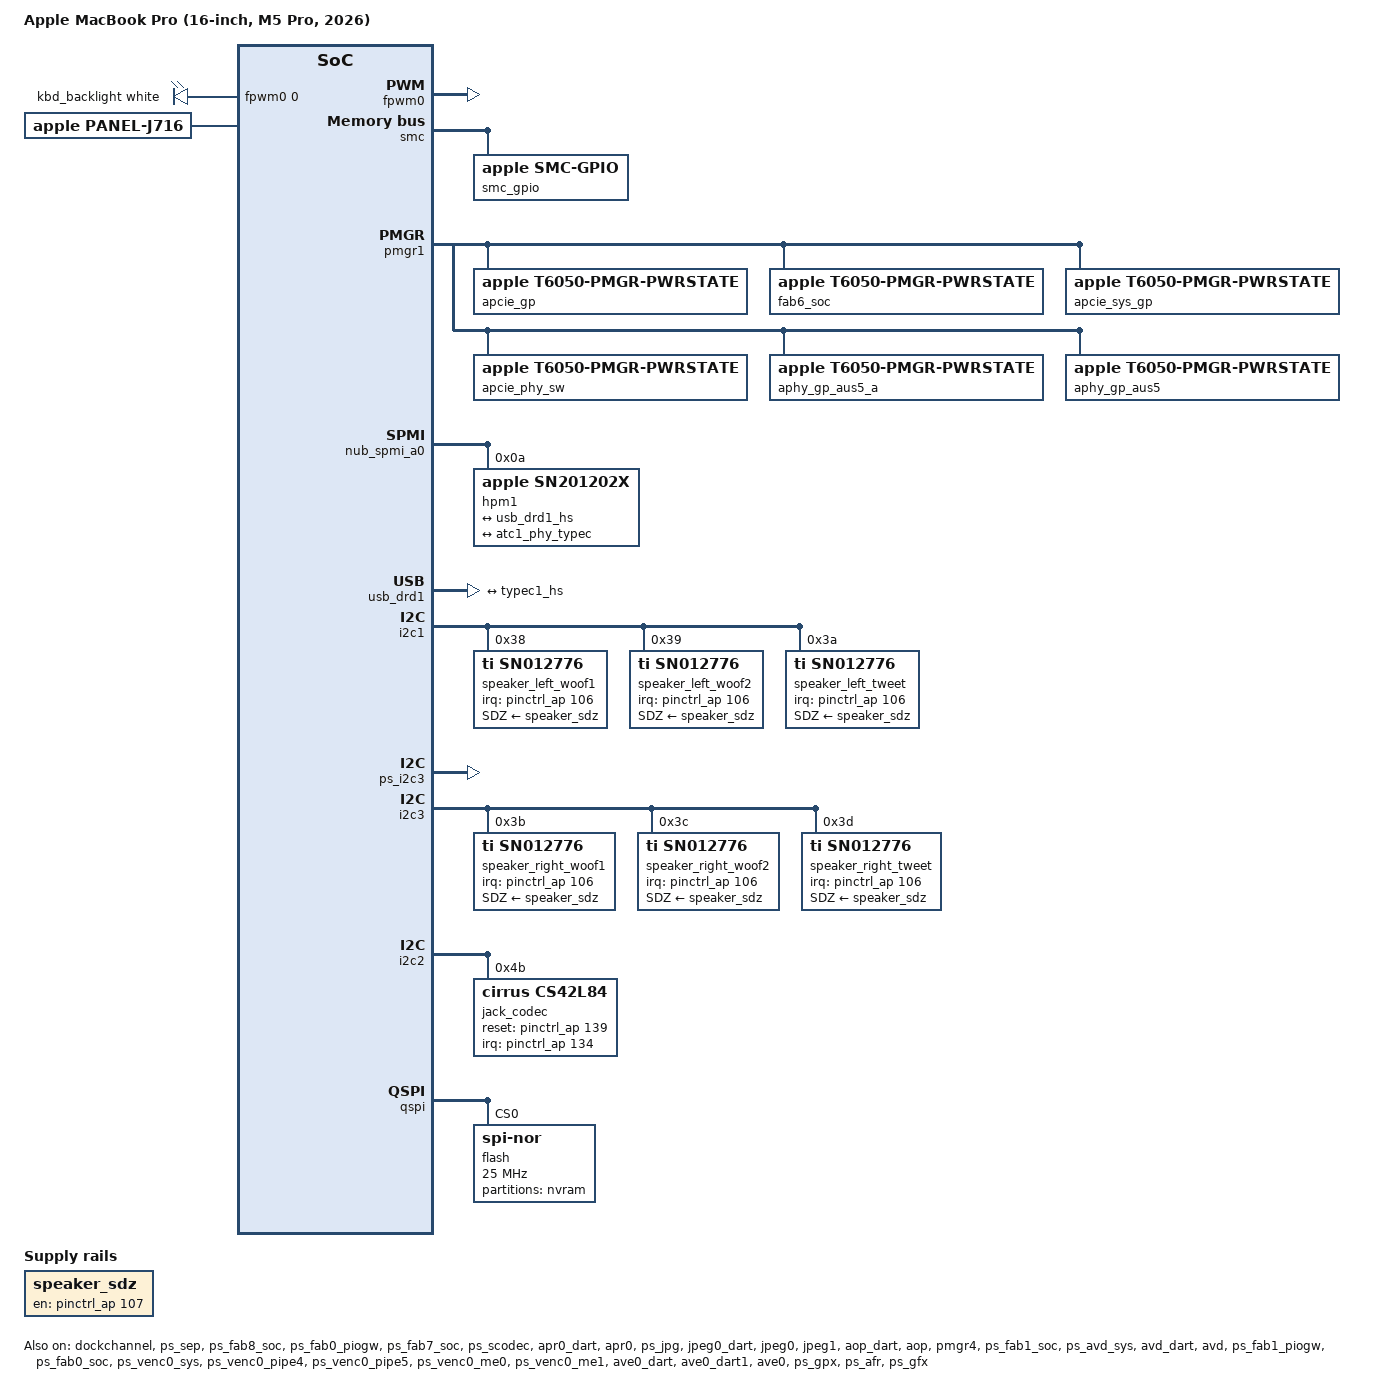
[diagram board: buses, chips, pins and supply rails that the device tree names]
// SPDX-License-Identifier: GPL-2.0+ OR MIT
/*
 * MacBook Pro (16-inch, M5 Pro, 2026)
 *
 * target-type: J716s (Mac17,8)
 *
 * The M5 Pro is one T6050 die, die 0 (t6050-max.dtsi), as on the J716c. The
 * ADT lists all 18 CPUs in the order t6050-max.dtsi uses; the boot loader
 * removes any core it did not start. This file enables and configures what
 * has been brought up on this board; the SoC's other ports and buses stay
 * disabled until each is described for it.
 *
 * Copyright The Asahi Linux Contributors
 */

/dts-v1/;

#define T6050_J716S
#include <dt-bindings/leds/common.h>
#include "t6050-max.dtsi"

/ {
	compatible = "apple,j716s", "apple,t6050", "apple,arm-platform";
	model = "Apple MacBook Pro (16-inch, M5 Pro, 2026)";
	chassis-type = "laptop";

	aliases {
		serial0 = &dockchannel;
		/* The loader fills the N1's factory addresses through these */
		wifi0 = &n1_alpha;
		bluetooth0 = &n1_beta;
		/* The loader fills the keyboard layout from the ADT's keyboard node */
		keyboard = &keyboard;
		/* the boot loader reserves the SEP firmware and adds its manifests through this alias */
		sep = &sep;
		/* The loader finds the boot NOR's NVRAM partition through this alias */
		nvram = &nvram;
	};

	chosen {
		#address-cells = <2>;
		#size-cells = <2>;
		ranges;

		framebuffer0: framebuffer@0 {
			compatible = "apple,simple-framebuffer", "simple-framebuffer";
			reg = <0 0 0 0>; /* To be filled by the loader */
			/* Format properties will be added by the loader */
			/* simpledrm reports an eDP connector for the built-in panel */
			apple,internal-panel;
			status = "disabled";
		};
	};

	/* Keyboard backlight: ADT pwm0/kbd-backlight, channel 0 at 25 kHz */
	led-controller {
		compatible = "pwm-leds";

		led-0 {
			pwms = <&fpwm0 0 40000>;
			label = "kbd_backlight";
			function = LED_FUNCTION_KBD_BACKLIGHT;
			color = <LED_COLOR_ID_WHITE>;
			max-brightness = <255>;
			default-state = "keep";
		};
	};
};

/* The keyboard backlight PWM (ADT pwm0) */
&fpwm0 {
	status = "okay";
};

/*
 * The SoC's inventory (t6050-peripherals.dtsi). Everything it declares is disabled; what
 * follows enables and completes what this board uses, so it comes after the inventory.
 */
#include "t6050-peripherals.dtsi"

/*
 * PCIe port 0: the N1 (Wi-Fi and Bluetooth). Port 1 is the SD reader, not yet
 * described. The registers, interrupt, DART streams and PERST# pin are the
 * J716c's: the J716s ADT has the same port. Port 0 and its DART stay disabled
 * until the boot loader enables them: once it trained the port, or with the
 * port down because the kernel can train it (port00 names the N1's power
 * line, the DART waits for its root complex). The kernel's train uses the
 * shared PHY (ADT reg[3]), its common block (reg[2] + 0x4000) and the windows
 * of the host tunable lists the boot loader copies from the ADT: axi2af
 * (reg[5]), pcieclkgen (reg[6]), phy-window (reg[2]) and phy-ip (reg[4]),
 * the same as the J714c's; the PHY and axi2af windows are cut to what their
 * lists reach.
 */
&pcie0 {
	reg = <0x1c 0xb0000000 0x0 0x10000000>,
	      <0x4 0x14000000 0x0 0x4000>,
	      <0x4 0x10028000 0x0 0x8000>,
	      <0x4 0x17010000 0x0 0x4000>,
	      <0x4 0x10024000 0x0 0x4000>,
	      <0x4 0x17020000 0x0 0x4000>,
	      <0x4 0x17004000 0x0 0x4000>,
	      <0x4 0x16000000 0x0 0x24000>,
	      <0x4 0x15044000 0x0 0x4000>,
	      <0x4 0x17000000 0x0 0x24000>,
	      <0x4 0x17800000 0x0 0x1b4000>;
	reg-names = "config", "rc", "port0", "phy0", "intr2axi0",
		    "phy-shared", "phy-common", "axi2af", "pcieclkgen",
		    "phy-window", "phy-ip";
	interrupts = <AIC_IRQ 0 1523 IRQ_TYPE_LEVEL_HIGH>;
	interrupt-names = "port0";

	/* The N1's three functions are on DART streams 1-3 */
	iommu-map = <0x100 &dart_apcie0 1 3>;
	bus-range = <0 4>;
	/*
	 * dart_apcie0 probes only once this host has the port up: fw_devlink
	 * must not make the host wait for it (strict mode enforces iommu-map)
	 */
	post-init-providers = <&dart_apcie0>;

	port00: pci@0,0 {
		device_type = "pci";
		reg = <0x0 0 0 0 0>;
		bus-range = <1 1>;
		/* The N1's power: ADT pci-bridge0 function-reset, gP13 */
		pwren-gpios = <&smc_gpio 0x13 GPIO_ACTIVE_HIGH>;
		/* PERST#: ADT pci-bridge0 function-perst, GPIO 80 */
		reset-gpios = <&pinctrl_ap 80 GPIO_ACTIVE_LOW>;
		apple,link-trained-by-bootloader;
		status = "disabled";

		#address-cells = <3>;
		#size-cells = <2>;
		ranges;

		interrupt-controller;
		#interrupt-cells = <1>;
		interrupt-map-mask = <0 0 0 7>;
		interrupt-map = <0 0 0 1 &port00 0 0 0 0>,
				<0 0 0 2 &port00 0 0 0 1>,
				<0 0 0 3 &port00 0 0 0 2>,
				<0 0 0 4 &port00 0 0 0 3>;

		/* platform ID (board 0x0c << 16) | chip 0x6050 */
		n1_control: control@0,0 {
			compatible = "pci106b,1900";
			reg = <0x10000 0x0 0x0 0x0 0x0>;
			firmware-name = "apple/centauri/j716s-ftab.bin";
			apple,centauri-platform-id = <0x000c6050>;
			apple,centauri-protocol = <27>;
		};

		n1_alpha: wifi@0,1 {
			compatible = "pci106b,1902";
			reg = <0x10100 0x0 0x0 0x0 0x0>;
			local-mac-address = [00 00 00 00 00 00];
		};

		n1_beta: bluetooth@0,2 {
			compatible = "pci106b,1903";
			reg = <0x10200 0x0 0x0 0x0 0x0>;
			local-bd-address = [00 00 00 00 00 00];
		};
	};
};

/* It answers only once port 0's root complex is up: pcie-apple then enables it */
&dart_apcie0 {
	apple,manual-availability;
};

/*
 * Nothing here drives the SMC pcIO outputs (apple,smc-pcio-gpio), and the AFE
 * reset above uses gp1c, so the node goes. This board's templates,
 * pKW8('pcIO', lo, hi) as (hi << 32) | lo, are the J716c's:
 *   0 dp2hdmi_pwr_en (0x0, 0x1a0000)
 *   1 hdmi_pwr_en    (0x800000, 0xf0000)
 *   2 afe-reset      (0x10000, 0x11c0000)
 */
/delete-node/ &smc_pcio;

/*
 * The SMC's first GPIO bank, the gP keys: the N1's power line is gP13.
 * gpio-macsmc drives it with the line's ADT template, pKW4("gP13",
 * 0x00800000): 0x00800000 | level, as m1n1 does.
 */
&smc {
	smc_gpio: gpio {
		compatible = "apple,smc-gpio";
		#gpio-cells = <2>;
		gpio-controller;
	};
};

/*
 * The power of the N1's port. iBoot leaves APCIE_SYS_GP, APCIE_PHY_SW and
 * APHY_GP_AUS5 in automatic power management with the block gated (boot
 * state 0x1000030f, 0x1400024f, 0x1000030f); the train needs them on and
 * staying on, as m1n1 raises them (target active, auto-PM off). Always on:
 * the port's link is kept through suspend-to-idle, and the host has no
 * power domain of its own. Parents as the ADT names them, the
 * register-less APCIE_SYS_GE left out. ADT pmgr devices APCIE_GP +0x118,
 * FAB6_SOC +0x138, APCIE_SYS_GP +0x148, APCIE_PHY_SW +0x1b0,
 * APHY_GP_AUS5_A +0x258, APHY_GP_AUS5 +0x280 (group 1).
 */
&pmgr1 {
	ps_apcie_gp: power-controller@118 {
		compatible = "apple,t6050-pmgr-pwrstate", "apple,t8103-pmgr-pwrstate";
		reg = <0x118 4>;
		label = "apcie_gp";
		#power-domain-cells = <0>;
		#reset-cells = <0>;
		status = "okay";
		apple,always-on;
	};

	ps_fab6_soc: power-controller@138 {
		compatible = "apple,t6050-pmgr-pwrstate", "apple,t8103-pmgr-pwrstate";
		reg = <0x138 4>;
		label = "fab6_soc";
		#power-domain-cells = <0>;
		#reset-cells = <0>;
		status = "okay";
		apple,always-on;
	};

	ps_apcie_sys_gp: power-controller@148 {
		compatible = "apple,t6050-pmgr-pwrstate", "apple,t8103-pmgr-pwrstate";
		reg = <0x148 4>;
		label = "apcie_sys_gp";
		power-domains = <&ps_apcie_gp>, <&ps_fab6_soc>;
		#power-domain-cells = <0>;
		#reset-cells = <0>;
		status = "okay";
		apple,always-on;
		apple,no-auto-pm;
	};

	ps_apcie_phy_sw: power-controller@1b0 {
		compatible = "apple,t6050-pmgr-pwrstate", "apple,t8103-pmgr-pwrstate";
		reg = <0x1b0 4>;
		label = "apcie_phy_sw";
		power-domains = <&ps_apcie_sys_gp>;
		#power-domain-cells = <0>;
		#reset-cells = <0>;
		status = "okay";
		apple,always-on;
		apple,no-auto-pm;
	};

	ps_aphy_gp_aus5_a: power-controller@258 {
		compatible = "apple,t6050-pmgr-pwrstate", "apple,t8103-pmgr-pwrstate";
		reg = <0x258 4>;
		label = "aphy_gp_aus5_a";
		power-domains = <&ps_apcie_phy_sw>;
		#power-domain-cells = <0>;
		#reset-cells = <0>;
		status = "okay";
		apple,always-on;
	};

	power-controller@280 {
		compatible = "apple,t6050-pmgr-pwrstate", "apple,t8103-pmgr-pwrstate";
		reg = <0x280 4>;
		label = "aphy_gp_aus5";
		power-domains = <&ps_aphy_gp_aus5_a>;
		#power-domain-cells = <0>;
		#reset-cells = <0>;
		status = "okay";
		apple,always-on;
		apple,no-auto-pm;
	};
};

/*
 * Type-C, from the ADT:
 *   ATC0 usb-drd0 left-back  hpm0 nub-spmi-a0 0x0c (the debug port, not described)
 *   ATC1 usb-drd1 left-front hpm1 nub-spmi-a0 0x0a
 *   ATC2 usb-drd2 right      hpm2 nub-spmi-a1 0x0c
 *   MagSafe                  hpm5 nub-spmi-a0 0x08 (not a USB-C connector)
 * There is no usb-drd3 and no nub-spmi-a2, so ATC3's USB chain and that bus
 * stay off.
 */
&atc3_phy_mbox {
	status = "disabled";
};

&atc3_phy {
	status = "disabled";
};

&usb_drd3 {
	status = "disabled";
};

&usb_drd3_dart_0 {
	status = "disabled";
};

&usb_drd3_dart_1 {
	status = "disabled";
};

&nub_spmi_a2 {
	status = "disabled";
};

/*
 * Left-front port (ATC1): the SN201202x hpm1, polled, and the connector
 * graph into usb_drd1 (USB2) and the combo PHY (SuperSpeed), in the shape of
 * t8142-j813-usb.dtsi. USB3 needs the PHY tunables the loader fills.
 */
&nub_spmi_a0 {
	hpm1: usb-pd@a {
		compatible = "apple,sn201202x";
		reg = <0xa SPMI_USID>;

		typec1: connector {
			compatible = "usb-c-connector";
			label = "USB-C Left-front";
			power-role = "dual";
			data-role = "dual";

			ports {
				#address-cells = <1>;
				#size-cells = <0>;

				port@0 {
					reg = <0>;
					typec1_hs: endpoint {
						remote-endpoint = <&usb_drd1_hs>;
					};
				};

				port@1 {
					reg = <1>;
					typec1_ss: endpoint {
						remote-endpoint = <&atc1_phy_typec>;
					};
				};
			};
		};
	};
};

&usb_drd1 {
	port {
		usb_drd1_hs: endpoint {
			remote-endpoint = <&typec1_hs>;
		};
	};
};

&atc1_phy {
	port {
		atc1_phy_typec: endpoint {
			remote-endpoint = <&typec1_ss>;
		};
	};
};

/*
 * Right port (ATC2): hpm2 on nub-spmi-a1, with USB and the USB4/Thunderbolt router, as on
 * the J714s. The inventory's nub-spmi-a1 has the generation 4 bus's three register windows
 * and IRQ (ADT nub-spmi-a1); the driver polls it and refuses an interrupt, so it takes the
 * first window only. The boot loader puts hpm2 in S0, parks the PIPE and fills the PHY's
 * tunables.
 */
&nub_spmi_a1 {
	reg = <0x2 0x8a1a8000 0x0 0x4000>;
	/delete-property/ interrupts;
	status = "okay";
};

#include "t6050-max-atc2.dtsi"

/* A host DROM (the J714s's, ADT /arm-io/acio2 thunderbolt-drom) until the boot loader replaces it */
&acio2_nhi {
	apple,thunderbolt-drom = [fd 02 00 00 00 00 00 00 00 90 19 c3 8c 00 5c 00
			00 00 00 00 00 00 08 81 82 02 82 00 00 00 08 82
			92 01 82 00 00 00 03 83 20 08 84 00 00 00 00 00
			00 08 85 00 00 00 00 00 00 05 86 09 01 00 08 87
			00 00 00 00 00 00 05 88 09 01 00 05 89 09 01 00
			05 8a 09 01 00 0e 01 41 70 70 6c 65 2c 20 49 6e
			63 2e 00 06 02 69 4f 53 00 00 00 00];
};

/*
 * Pin 112 takes an SError when read (as on the J716c), so only the pins a node
 * here names are exposed: 80 (PCIe port 0's PERST#), 106 and 107 (the speaker
 * amps' interrupt and shutdown line), 134 and 139 (the jack codec's interrupt
 * and reset).
 */
&pinctrl_ap {
	gpio-reserved-ranges = <0 80>, <81 25>, <108 26>, <135 4>, <140 81>;
};

/*
 * SMC sensors: the shared fan, power, voltage and current keys, plus every
 * readable float T* key through apple,discover-temperatures in
 * t6050-die0.dtsi, labelled with the key name. A key this SMC lacks only
 * drops its channel.
 *
 * Discovery refuses to run once any temperature channel exists, so the
 * shared temperature nodes go (their keys TH0x, TB0T, TCHP and TW0P are
 * discovered anyway), and so does apple,soc-die-keys, whose "SoC die TCMb"
 * channel would also count and fail the probe with -EINVAL. Only the
 * macsmc_soc_die thermal zone is lost; nothing here uses it. The
 * /delete-property/ can go with "hwmon: macsmc: Let discovered temperatures
 * join the SoC die zone".
 */
#include "hwmon-common.dtsi"
#include "hwmon-fan-dual.dtsi"
#include "hwmon-laptop.dtsi"

&smc_hwmon {
	/delete-property/ apple,soc-die-keys;
	/delete-node/ temperature-TH0x;
	/delete-node/ temperature-TB0T;
	/delete-node/ temperature-TCHP;
	/delete-node/ temperature-TW0P;

	/*
	 * The T6050 SMC spells the fan mode keys F0md/F1md, as on the J775D. No
	 * apple,fan-manual-control: the SMC drives the fans.
	 */
	fan-F0Ac {
		apple,fan-mode = "F0md";
	};

	fan-F1Ac {
		apple,fan-mode = "F1md";
	};
};

/*
 * The clusters' DVFS blocks have the T8112 layout (status at +0x50: current
 * p-state in bits 9:5, target in 4:0, read on this board), which
 * apple-soc-cpufreq drives through the T8112 compatible. A driver entry for
 * apple,t6050-cluster-cpufreq matches the first string and takes over.
 */
&cpufreq_mc0 {
	compatible = "apple,t6050-cluster-cpufreq", "apple,t8112-cluster-cpufreq";
};

&cpufreq_mc1 {
	compatible = "apple,t6050-cluster-cpufreq", "apple,t8112-cluster-cpufreq";
};

&cpufreq_pc {
	compatible = "apple,t6050-cluster-cpufreq", "apple,t8112-cluster-cpufreq";
};

/*
 * The console is on the USB debug link, which drains only while a host reads
 * it; the machine also boots with nothing attached there.
 */
&dockchannel {
	apple,tx-never-wait;
	status = "okay";
};

/* The keyboard and trackpad: the HID transport on the MTP's DockChannel FIFO */
&mtp_dockchannel {
	mtp_hid: input@8000 {
		compatible = "apple,dockchannel-hid";
		reg = <0x8000 0x1000>, <0xc000 0x1000>,
		      <0x0 0x1000>, <0x4000 0x1000>;
		reg-names = "config", "data", "rmt-config", "rmt-data";
		iommus = <&mtp_dart 0>;
		interrupt-parent = <&mtp_dockchannel>;
		interrupts = <2 IRQ_TYPE_LEVEL_HIGH>,
			     <3 IRQ_TYPE_LEVEL_HIGH>;
		interrupt-names = "tx", "rx";
		apple,fifo-size = <0x800>;
		apple,helper-cpu = <&mtp>;
		/*
		 * The AFE reset is the SMC pcIO output J716c uses (template 2 below).
		 * The same line is SMC GPIO gp1c, active low, which gpio-macsmc drives.
		 */
		apple,afe-reset-gpios = <&smc_gpio_low 28 GPIO_ACTIVE_LOW>;

		multi-touch {
			apple,power-method = <2>;
			firmware-name = "apple/tpmtfw-j716s.bin";
		};

		keyboard: keyboard {
			hid-country-code = <0>;
			apple,keyboard-layout-id = <0>;
		};

		stm {
		};

		actuator {
		};

		tp-accel {
		};
	};
};

/*
 * The SEP (ADT sep, dart-sep): its mailbox, and its power domain with the two
 * fabric parents left to the firmware, which genpd votes on and never turns off.
 * The boot loader enables the SEP itself through its alias.
 */
&sep_mbox {
	status = "okay";
};

&ps_sep {
	status = "okay";
};

&ps_fab8_soc {
	apple,firmware-owned;
	status = "okay";
};

&ps_fab0_piogw {
	apple,firmware-owned;
	status = "okay";
};

/*
 * The ProRes engine (apr0) and its DART, in the SCODEC power state. Its
 * parent fab7-soc also feeds the display pipeline, so it is left to the
 * firmware, as fab0-piogw is.
 */
&ps_fab7_soc {
	apple,firmware-owned;
	status = "okay";
};

&ps_scodec {
	status = "okay";
};

&apr0_dart {
	status = "okay";
};

&apr0 {
	status = "okay";
};

/*
 * Both JPEG engines and their shared DART, under the media fabric that the
 * video encoder above already enables.
 */
&ps_jpg {
	status = "okay";
};

&jpeg0_dart {
	status = "okay";
};

&jpeg0 {
	status = "okay";
};

&jpeg1 {
	status = "okay";
};

/* The same T6050 camera as J716c; the loader sets the sensor type. */
#include "t6050-j716c-isp.dtsi"

/* The GPU and the internal panel, for the boot loader's handoff */
#include "t6050-j714s-gpu-panel.dtsi"

/* External displays, on the left-front and right ports */
#include "t6050-j714s-display.dtsi"

/* The Neural Engine, started only after the boot loader's preload hand-off */
#include "t6050-j714s-ane.dtsi"

/*
 * Sound through the AOP, as on J813 and the J714s: its audio service runs the serializers, the
 * CS42L84 headphone jack on admac-base-ns TX2/RX2 and the six SN012776 speaker amps
 * on TX0, their voltage and current sense on RX0 (ADT iop-audio-controller).
 *
 * The amps (ADT /arm-io/i2c1/audio-speaker* and /arm-io/i2c3/audio-speaker*) share
 * one shutdown line, AP pin 107 (function-reset of the first), and one fault
 * interrupt, pin 106. The ADT's speaker-config gives amp N playback slot N, its
 * voltage sense in slot 4N and current sense in 4N+2, in the order of the first
 * amp's speakerN: left woofer 1, right woofer 1, left woofer 2, right woofer 2,
 * left tweeter, right tweeter. The firmware's speaker frame is 250 BCLKs of 12 MHz
 * (ADT audio-speaker stream), which the amps' ratio detection rejects.
 */
/ {
	speaker_sdz: regulator-sn012776-sdz {
		compatible = "regulator-fixed";
		regulator-name = "sn012776-sdz";
		gpios = <&pinctrl_ap 107 GPIO_ACTIVE_HIGH>;
		enable-active-high;
	};
};

&i2c1 {
	status = "okay";

	speaker_left_woof1: codec@38 {
		compatible = "ti,sn012776", "ti,tas2764";
		reg = <0x38>;
		SDZ-supply = <&speaker_sdz>;
		apple,sdz-group-fail-closed;
		#sound-dai-cells = <0>;
		sound-name-prefix = "Left Woofer 1";
		interrupts-extended = <&pinctrl_ap 106 IRQ_TYPE_LEVEL_LOW>;
		ti,imon-slot-no = <2>;
		ti,vmon-slot-no = <0>;
		ti,bclk-ratio = <250>;
	};

	speaker_left_woof2: codec@39 {
		compatible = "ti,sn012776", "ti,tas2764";
		reg = <0x39>;
		SDZ-supply = <&speaker_sdz>;
		apple,sdz-group-fail-closed;
		#sound-dai-cells = <0>;
		sound-name-prefix = "Left Woofer 2";
		interrupts-extended = <&pinctrl_ap 106 IRQ_TYPE_LEVEL_LOW>;
		ti,imon-slot-no = <10>;
		ti,vmon-slot-no = <8>;
		ti,bclk-ratio = <250>;
	};

	speaker_left_tweet: codec@3a {
		compatible = "ti,sn012776", "ti,tas2764";
		reg = <0x3a>;
		SDZ-supply = <&speaker_sdz>;
		apple,sdz-group-fail-closed;
		#sound-dai-cells = <0>;
		sound-name-prefix = "Left Tweeter";
		interrupts-extended = <&pinctrl_ap 106 IRQ_TYPE_LEVEL_LOW>;
		ti,imon-slot-no = <18>;
		ti,vmon-slot-no = <16>;
		ti,bclk-ratio = <250>;
	};
};

/* The I2C power states have no described parent (SIO), as for i2c1 and i2c2 */
&ps_i2c3 {
	/delete-property/ power-domains;
	status = "okay";
};

&i2c3 {
	/* The ADT gives i2c1, i2c2 and i2c3 the same clock-ids (4) */
	clocks = <&clkref>;
	status = "okay";

	speaker_right_woof1: codec@3b {
		compatible = "ti,sn012776", "ti,tas2764";
		reg = <0x3b>;
		SDZ-supply = <&speaker_sdz>;
		apple,sdz-group-fail-closed;
		#sound-dai-cells = <0>;
		sound-name-prefix = "Right Woofer 1";
		interrupts-extended = <&pinctrl_ap 106 IRQ_TYPE_LEVEL_LOW>;
		ti,imon-slot-no = <6>;
		ti,vmon-slot-no = <4>;
		ti,bclk-ratio = <250>;
	};

	speaker_right_woof2: codec@3c {
		compatible = "ti,sn012776", "ti,tas2764";
		reg = <0x3c>;
		SDZ-supply = <&speaker_sdz>;
		apple,sdz-group-fail-closed;
		#sound-dai-cells = <0>;
		sound-name-prefix = "Right Woofer 2";
		interrupts-extended = <&pinctrl_ap 106 IRQ_TYPE_LEVEL_LOW>;
		ti,imon-slot-no = <14>;
		ti,vmon-slot-no = <12>;
		ti,bclk-ratio = <250>;
	};

	speaker_right_tweet: codec@3d {
		compatible = "ti,sn012776", "ti,tas2764";
		reg = <0x3d>;
		SDZ-supply = <&speaker_sdz>;
		apple,sdz-group-fail-closed;
		#sound-dai-cells = <0>;
		sound-name-prefix = "Right Tweeter";
		interrupts-extended = <&pinctrl_ap 106 IRQ_TYPE_LEVEL_LOW>;
		ti,imon-slot-no = <22>;
		ti,vmon-slot-no = <20>;
		ti,bclk-ratio = <250>;
	};
};

/*
 * The CS42L84 headphone codec (ADT /arm-io/i2c2/audio-codec-output): its reset line
 * is AP pin 139, driven high to run the codec, and its interrupt AP pin 134, level
 * low.
 */
&i2c2 {
	status = "okay";

	jack_codec: codec@4b {
		compatible = "cirrus,cs42l84";
		reg = <0x4b>;
		reset-gpios = <&pinctrl_ap 139 GPIO_ACTIVE_HIGH>;
		interrupts-extended = <&pinctrl_ap 134 IRQ_TYPE_LEVEL_LOW>;
		#sound-dai-cells = <0>;
		sound-name-prefix = "Jack";
	};
};

/ {
	sound {
		compatible = "apple,j716-macaudio", "apple,macaudio";
		model = "MacBook Pro J716";
		#address-cells = <1>;
		#size-cells = <0>;

		dai-link@0 {
			reg = <0>;
			link-name = "Headphone Jack";

			cpu {
				sound-dai = <&aop_audio 0>;
			};

			codec {
				sound-dai = <&jack_codec>;
			};
		};

		dai-link@1 {
			reg = <1>;
			link-name = "Speaker";
			/*
			 * Codecs in ADT speaker-config order, so that macaudio gives them
			 * playback slots 0-5 as macOS does (left channels in slots 0, 2
			 * and 4, right in 1, 3 and 5). The idle masks are the ADT
			 * amp-tx-zd-config rows 0 and 1: left woofer 1 drives zeros in the
			 * right amps' sense slots, right woofer 1 in the left amps'.
			 */
			dai-tdm-idle-mode-0 = "zero";
			dai-tdm-slot-tx-idle-mask-0 = <0xfff0f0f0>;
			dai-tdm-idle-mode-1 = "zero";
			dai-tdm-slot-tx-idle-mask-1 = <0xff0f0f0f>;

			cpu {
				sound-dai = <&aop_audio 3>;
			};

			codec {
				sound-dai = <&speaker_left_woof1>, <&speaker_right_woof1>,
					    <&speaker_left_woof2>, <&speaker_right_woof2>,
					    <&speaker_left_tweet>, <&speaker_right_tweet>;
			};
		};
	};
};

/* The AOP, booted through its setup port, with its sensor and audio services. */
&aop_mbox {
	status = "okay";
};

&aop_setup_mbox {
	status = "okay";
};

&aop_dart {
	status = "okay";
};

&aop {
	status = "okay";
};

/*
 * The microphone array: ADT audio-hp-mic, three microphones on leap-s RX0 through the
 * proxy ADMAC (Linux channel 1, as on J813), captured by the AOP audio service's own card.
 */
&admac_base_ns {
	status = "okay";
};

&admac_ec_proxy {
	status = "okay";
};

&aop_audio {
	apple,chassis-name = "J716";
	apple,machine-kind = "MacBook Pro";
	dmas = <&admac_base_ns 4>, <&admac_base_ns 5>,
	       <&admac_base_ns 0>, <&admac_base_ns 1>,
	       <&admac_ec_proxy 1>;
	dma-names = "cout", "cin", "spkr", "sense", "hpai";
};

/* The video decoder (ADT avd0, as on the J714c), its DART and power states. */
&pmgr4 {
	status = "okay";
};

/* macOS turns FAB1_SOC on once at boot and never gates it. */
&ps_fab1_soc {
	apple,always-on;
	status = "okay";
};

&ps_avd_sys {
	status = "okay";
};

&avd_dart {
	status = "okay";
};

&avd {
	status = "okay";
};

/*
 * The video encoder (ADT ave0), its DARTs and the VENC0 power states. Like
 * FAB1_SOC, macOS sets FAB0_SOC active once at boot and never gates it; the PIO
 * gateway above it is left to the firmware.
 */
&ps_fab1_piogw {
	apple,firmware-owned;
	status = "okay";
};

&ps_fab0_soc {
	apple,always-on;
	status = "okay";
};

&ps_venc0_sys {
	status = "okay";
};

&ps_venc0_dma {
	status = "okay";
};

&ps_venc0_pipe4 {
	status = "okay";
};

&ps_venc0_pipe5 {
	status = "okay";
};

&ps_venc0_me0 {
	status = "okay";
};

&ps_venc0_me1 {
	status = "okay";
};

&ave0_dart {
	status = "okay";
};

&ave0_dart1 {
	status = "okay";
};

&ave0 {
	status = "okay";
};

/*
 * The internal 16.2-inch mini-LED panel on the die's display engine (dcp), the
 * boot loader's hand-off target. The dimensions and the 600 nit maximum
 * brightness are the panel's; the 14-inch panel of t6050-j714s-gpu-panel.dtsi is
 * replaced. The display driver does not probe without the bandwidth scratch: the
 * PMC metadata's register block (dispext0 reg[4]), word 5 at +0x20000. The
 * firmware asks for its clocks by index into apple,clock-ids (ADT disp0
 * clock-ids 361 and 458, as on the J716c); the loader verifies the identifiers
 * and fills the rates.
 */
/ {
	dcp_fw_clk361: clock-dcp-firmware-361 {
		compatible = "fixed-clock";
		#clock-cells = <0>;
		clock-frequency = <810000000>;
		clock-output-names = "dcp_firmware_361";
	};

	dcp_fw_clk458: clock-dcp-firmware-458 {
		compatible = "fixed-clock";
		#clock-cells = <0>;
		clock-frequency = <521064992>;
		clock-output-names = "dcp_firmware_458";
	};
};

&dcp {
	apple,dcp-index = <0>;
	apple,bw-scratch = <&dcpext0_pmc 0 5 0x20000>;
	apple,clock-ids = <361 458>;
	clocks = <&dcp_fw_clk361>, <&dcp_fw_clk458>;
	clock-names = "firmware-0", "firmware-1";

	panel {
		compatible = "apple,panel-j716", "apple,panel-mini-led", "apple,panel";
		width-mm = <345>;
		height-mm = <223>;
		/delete-property/ adj-height-mm;
		apple,max-brightness = <600>;
	};
};

/*
 * The boot NOR and its NVRAM partition, for asahi-nvram and asahi-bless. ADT
 * /arm-io/qspi has one child, spinor (chip select 0), with the children
 * firmware, anvram and syscfg; anvram is 0x700000, 0xc0000 (12 banks of 64 KiB,
 * /chosen nvram-bank-count 12, nvram-bank-size 0x10000). Only the partition is
 * described, single-wire as on the J775D, so spi-nor sends no quad-enable write
 * at probe. spi-apple-qspi refuses programs and erases until its board row
 * qualifies the part.
 */
&qspi {
	status = "okay";

	flash@0 {
		compatible = "jedec,spi-nor";
		reg = <0>;
		spi-max-frequency = <25000000>;
		spi-rx-bus-width = <1>;
		spi-tx-bus-width = <1>;

		partitions {
			compatible = "fixed-partitions";
			#address-cells = <1>;
			#size-cells = <1>;

			nvram: partition@700000 {
				label = "nvram";
				reg = <0x700000 0xc0000>;
			};
		};
	};
};

/*
 * The GPU's power states. The group's PMGR (pmgr_gpx) stays disabled and the boot loader
 * enables it with the GPU hand-off, as for the GPU and its mailboxes; the states under it
 * are enabled here so that enabling the group is enough.
 */
&ps_gpx {
	status = "okay";
};

&ps_afr {
	status = "okay";
};

&ps_gfx {
	status = "okay";
};
